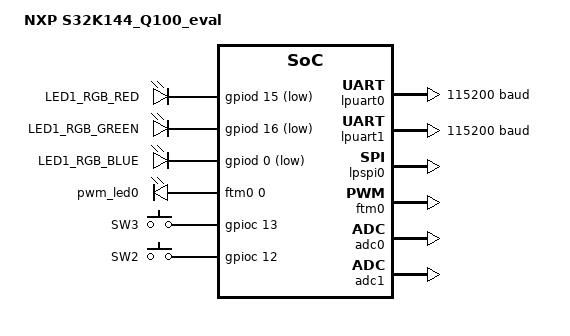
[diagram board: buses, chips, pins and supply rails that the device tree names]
/*
 * Created by Albert P Joshi

	Required target SOC was PS32K144HFT0VLLT
	But wasnt declared in the HAL
	According to datasheet the following were assumed to be compatible

	Compatible  by datasheet -> xS32k144H(F/A)xxLLx
	Hence chose FS32K144HAT0MLLT which closely resembles the required target SOC

 */

/dts-v1/;
#include <zephyr/dt-bindings/gpio/gpio.h>
#include <zephyr/dt-bindings/pwm/pwm.h>
#include <zephyr/dt-bindings/input/input-event-codes.h>
#include <arm/nxp/nxp_s32k144.dtsi>
#include "s32k144_q100_eval-pinctrl.dtsi"

/ {
	model = "NXP S32K144_Q100_eval";
	compatible = "nxp,s32k144_q100_eval";

	chosen {
		zephyr,sram = &sraml;
		zephyr,flash = &flash0;
		zephyr,console = &lpuart0;
		zephyr,shell-uart = &lpuart0;
		zephyr,uart-mcumgr = &lpuart0;
		zephyr,uart-pipe = &lpuart0;
		//zephyr,display = &lpi2c0;
		//zephyr,canbus = &flexcan0;
		zephyr,flash-controller = &ftfc;
		zephyr,code-partition = &slot0_partition;
		//zephyr,io_channels = &adc0;
		inc,uart = &lpuart1;
		dlt,uart = &lpuart0;
	};


	aliases {
		led0 = &led1_red;
		led1 = &led1_green;
		led2 = &led1_blue;
		sw0 = &button_3;
		i2c-0 = &lpi2c0;
		pwm-led0 = &pwm_led0;
		mcuboot-led0 = &led1_blue;
		mcuboot-button0 = &button_3;
	};

	leds {
		compatible = "gpio-leds";

		led1_red: led_0 {
			gpios = <&gpiod 15 GPIO_ACTIVE_LOW>;
			label = "LED1_RGB_RED";
		};
		led1_green: led_1 {
			gpios = <&gpiod 16 GPIO_ACTIVE_LOW>;
			label = "LED1_RGB_GREEN";
		};
		led1_blue: led_2 {
			gpios = <&gpiod 0 GPIO_ACTIVE_LOW>;
			label = "LED1_RGB_BLUE";
		};
	};

	pwmleds {
		compatible = "pwm-leds";
		pwm_led0: pwm_led_0 {
			pwms = <&ftm0 0 PWM_MSEC(20) PWM_POLARITY_INVERTED>;
		};
	};

	gpio_keys {
		compatible = "gpio-keys";

		button_3: button_0 {
			label = "SW3";
			gpios = <&gpioc 13 GPIO_ACTIVE_HIGH>;
			zephyr,code = <INPUT_KEY_0>;
		};
		button_2: button_1 {
			label = "SW2";
			gpios = <&gpioc 12 GPIO_ACTIVE_HIGH>;
			zephyr,code = <INPUT_KEY_0>;
		};
	};

};

&gpioa {
	status = "okay";
};

&gpiob {
	status = "okay";
};

&gpioc {
	status = "okay";
};

&gpiod {
	status = "okay";
};

&gpioe {
	status = "okay";
};

&lpuart0 {
	pinctrl-0 = <&lpuart0_default>;
	pinctrl-names = "default";
	current-speed = <115200>;
	status = "okay";
};


&lpuart1 {
	pinctrl-0 = <&lpuart1_default>;
	pinctrl-names = "default";
	current-speed = <115200>;
	status = "okay";
	// Do not Enable DMA Driver not implemented.
	// dmas = <&edma0 1>,<&edma0 2>;
	// dma-names="tx","rx";
};


&lpspi0 {
	pinctrl-0 = <&lpspi0_default>;
	pinctrl-names = "default";
	status = "okay";
};

&ftm0 {
	compatible = "nxp,kinetis-ftm-pwm";
	pinctrl-0 = <&ftm0_default>;
	pinctrl-names = "default";
	clock-source = "system";
	prescaler = <128>;
	#pwm-cells = <3>;
	status = "okay";
};

/* &flexcan0 {
	pinctrl-0 = <&flexcan0_default>;
	pinctrl-names = "default";
	// phys = <&can_phy0>;
	bus-speed = <125000>;
	sample-point = <875>;
	bus-speed-data = <1000000>;
	sample-point-data = <875>;
	status = "okay";
}; */

&flash0 {

	partitions {
		compatible = "fixed-partitions";
		#address-cells = <0x1>;
		#size-cells = <0x1>;

		boot_partition: partition@00000000{
			label = "mcuboot";
			reg = <0x00000000 0x10000>;
			read-only;
		};

		slot0_partition: partition@10000 {
			label = "image-0";
			reg = <0x10000 0x38000>;
		};
		slot1_partition: partition@48000 {
			label = "image-1";
			reg = <0x48000 0x38000>;
		};
	};
};

&adc0 {
	status = "okay";
};

&adc1 {
	status = "okay";
};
